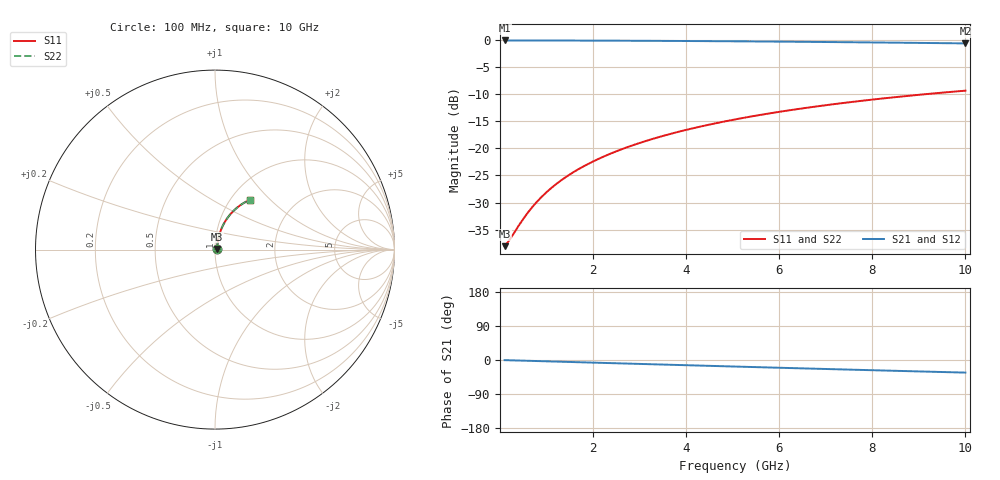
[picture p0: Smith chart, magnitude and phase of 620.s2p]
# Hz S RI R 50.00
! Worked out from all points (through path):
!   100 points, 100 MHz to 10 GHz, reference 50 ohm
!   highest |S21| = -0.10 dB at 100 MHz (marker M1); lowest = -0.6 dB at 10 GHz (marker M2)
!   group delay of S21, straight-line fit = 9.26 ps
!   lowest |S11| = -38.0 dB at 100 MHz (marker M3), VSWR 1.03, Z = 51.2 + j0.377 ohm
!   |S11| at or under -10 dB: start of sweep to 9.156 GHz
!   |S22| runs from -38.0 to -9.4 dB; largest |S21 - S12| = 0
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1e8  0.012 0.00368  0.988 -0.00597  0.988 -0.00597  0.012 0.00368
2e8  0.0121 0.00735  0.9878 -0.0119  0.9878 -0.0119  0.0121 0.00735
4e8  0.0125 0.0147  0.9874 -0.0239  0.9874 -0.0239  0.0125 0.0147
5e8  0.0127 0.0184  0.9872 -0.0298  0.9872 -0.0298  0.0127 0.0184
6e8  0.013 0.022  0.9869 -0.0358  0.9869 -0.0358  0.013 0.022
7e8  0.0133 0.0257  0.9865 -0.0417  0.9865 -0.0417  0.0133 0.0257
9e8  0.0141 0.033  0.9857 -0.0536  0.9857 -0.0536  0.0141 0.033
1.1e9  0.015 0.0403  0.9846 -0.0655  0.9846 -0.0655  0.015 0.0403
1.3e9  0.0161 0.0475  0.9834 -0.0773  0.9834 -0.0773  0.0161 0.0475
1.5e9  0.0174 0.0547  0.982 -0.0891  0.982 -0.0891  0.0174 0.0547
1.8e9  0.0196 0.0655  0.9795 -0.1067  0.9795 -0.1067  0.0196 0.0655
2.1e9  0.0223 0.0761  0.9765 -0.1243  0.9765 -0.1243  0.0223 0.0761
2.5e9  0.0263 0.0902  0.972 -0.1475  0.972 -0.1475  0.0263 0.0902
2.9e9  0.031 0.1039  0.9667 -0.1704  0.9667 -0.1704  0.031 0.1039
3.4e9  0.0378 0.1207  0.9591 -0.1987  0.9591 -0.1987  0.0378 0.1207
4.2e9  0.0506 0.1466  0.9446 -0.2429  0.9446 -0.2429  0.0506 0.1466
5.1e9  0.0677 0.1738  0.9253 -0.2909  0.9253 -0.2909  0.0677 0.1738
5.9e9  0.085 0.1961  0.9056 -0.3317  0.9056 -0.3317  0.085 0.1961
6.7e9  0.1041 0.2165  0.8837 -0.3706  0.8837 -0.3706  0.1041 0.2165
7.5e9  0.1247 0.2348  0.86 -0.4075  0.86 -0.4075  0.1247 0.2348
8.4e9  0.1495 0.2529  0.8313 -0.4465  0.8313 -0.4465  0.1495 0.2529
1e10  0.1963 0.278  0.7763 -0.509  0.7763 -0.509  0.1963 0.278
